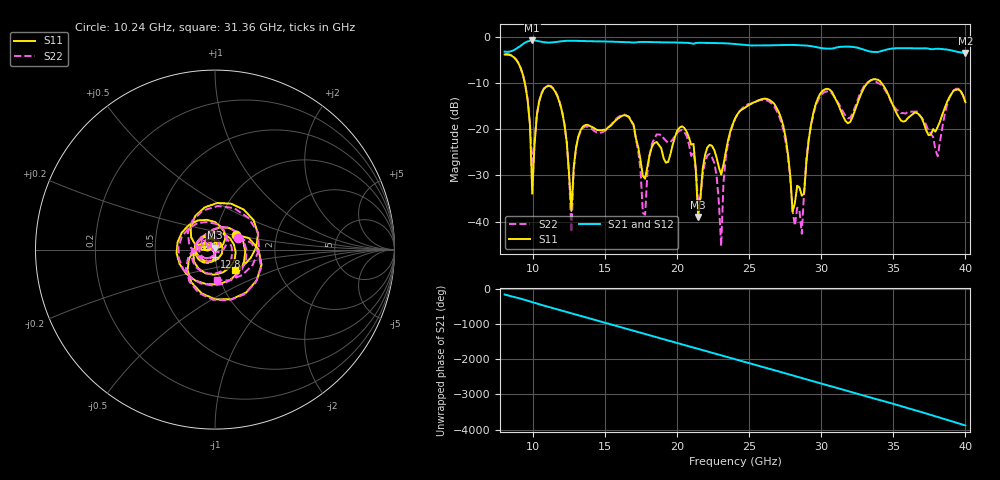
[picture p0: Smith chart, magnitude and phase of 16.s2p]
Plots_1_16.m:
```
clear;
close all;
SetupPath;


linewidth = 1;
axlinewidth = 1;
nplotx = 6;
nploty = 4;
xlims = [12 32];

roughness = 0.0;

% Connector
folder = 'h:\Server\Exports\';
[parameters, SCST] = CST.LoadData([folder, sprintf('Connector_TR_Deembed_%gum.s2p', roughness)]);
fCST = parameters.frequencies.';

roughness = 1.3;

clrs = lines(7);
clrs(4,:) = [];

file = '16.s2p';
[parameters, data] = CST.LoadData(file);
fs = parameters.frequencies/1e9;

s11 = squeeze(data(1,1,:));
s12 = squeeze(data(1,2,:));
s21 = squeeze(data(2,1,:));
s22 = squeeze(data(2,2,:));
[hFig, hAx] = figureex;
    if(length(hAx.Children) < 2)
        patch(hAx, [28 31 31 28], [-1e3 -1e3 1e3 1e3], [0 0 0], ...
            'FaceAlpha', 0.1, 'EdgeColor', 'none');
        patch(hAx, [13.75 14.5 14.5 13.75], [-1e3 -1e3 1e3 1e3], [0 0 0], ...
            'FaceAlpha', 0.1, 'EdgeColor', 'none');
    end
    hAx.ColorOrder = clrs;
    alignplot(hFig, nplotx, nploty, hFig.Number, [], 1);
%         hAx.Title.String = strrep(file, '.s2p', '');
    plot(hAx, fs, 20*log10(abs(s11)), 'LineWidth', linewidth);
    addlegendentry(hAx, 'S11');
    plot(hAx, fs, 20*log10(abs(s12)), 'LineWidth', linewidth);
    addlegendentry(hAx, 'S12');
%     plot(hAx, fs, 20*log10(abs(s21)), 'LineWidth', linewidth);
%     addlegendentry(hAx, 'S21');
    plot(hAx, fs, 20*log10(abs(s22)), 'LineWidth', linewidth);
    addlegendentry(hAx, 'S22');

    xlabel(hAx, 'Frequency [GHz]');
    ylabel(hAx, 'S_{ij} [dB]');
    xlim(hAx, xlims);
    ylim(hAx, [-30 0]);
    movelegend(hAx, 'se');
    hAx.LineWidth = axlinewidth;
    
folder = 'h:\Server\Exports\';
filename = sprintf('1-to-16-lossy-back2back-rough%g-', roughness);
[f, ~, S11HFSS] = HFSS.LoadData([folder, filename, 'S11.csv']);
[f, ~, S12HFSS] = HFSS.LoadData([folder, filename, 'S12.csv']);
SHFSS = struct('s11', 10.^(S11HFSS./20), 's12', 10.^(S12HFSS./20), 's21', 10.^(S12HFSS./20), 's22', 10.^(S11HFSS./20));
ABCDHFSS = S2ABCD(SHFSS, 80, 80);
S11i = interp1(fCST./1e9, squeeze(SCST(1,1,:)), f);
S12i = interp1(fCST./1e9, squeeze(SCST(1,2,:)), f);
S21i = interp1(fCST./1e9, squeeze(SCST(2,1,:)), f);
S22i = interp1(fCST./1e9, squeeze(SCST(2,2,:)), f);

SCST = struct('s11', S11i, 's12', S12i, 's21', S21i, 's22', S22i);
Z1 = 80;%50.974587;
Z2 = 80;%77.987955;
ABCDCST = S2ABCD(SCST, Z1, Z2);

ABCDtotal = ABCDCST.mul(ABCDHFSS.mul(ABCDCST.reverse()));

Stotal = ABCD2S(ABCDtotal, 50, 50);
% Stotal = SHFSS;
    
[hFig2, hAx2] = figureex;
    alignplot(hFig2, nplotx, nploty, hFig2.Number, [], 1);
%     title(hAx2, '16');
    plot(hAx2, fs, 10*log10(abs(s11).^2+abs(s12).^2), '-', 'Color', clrs(1,:), 'LineWidth', linewidth);
    addlegendentry(hAx2, 'Measurement');

%     plot(hAx, f, S11HFSS, 'o', 'Color', clrs(1,:), 'LineWidth', linewidth);
    plot(hAx, f, 20*log10(abs(Stotal.s11)), 'k:', 'LineWidth', linewidth*2);
    addlegendentry(hAx, 'Simulation');
    plot(hAx, f, 20*log10(abs(Stotal.s12)), 'k:', 'LineWidth', linewidth*2);
%     plot(hAx, f, S12HFSS, 'x', 'Color', clrs(2,:), 'LineWidth', linewidth);
%     plot(hAx2, f, 10*log10(10.^(S12HFSS./20).^2 + 10.^(S11HFSS./20).^2), 'x', 'Color', clrs(2,:), 'LineWidth', linewidth);
%     addlegendentry(hAx2, '0.25\mum');
%     plot(hAx2, f, 10*log10(10.^(S12HFSS./20).^2 + 10.^(S11HFSS./20).^2) + 2*10*log10(abs(S11i).^2+abs(S12i).^2), 'o', 'Color', clrs(2,:), 'LineWidth', linewidth);
    plot(hAx2, f, 10*log10(abs(Stotal.s11).^2 + abs(Stotal.s12).^2), '-', 'Color', clrs(2,:), 'LineWidth', linewidth);
    addlegendentry(hAx2, 'Simulation');% + connector');
        
    xlim(hAx2, xlims);
    ylim(hAx2, [-3 0]);
    xlabel(hAx2, 'Frequency [GHz]');
    ylabel(hAx2, 'Efficiency');
    
    legend(hAx, 'NumColumns', 5)
    legendlinelength(hAx, 15);
    drawnow;
    movelegend(hAx, 's');
        
        
    dispex('%s: %.2f at 12, %.2f at 32.\n', file, 20*log10(s12(fs == 12)), 20*log10(s12(fs == 32)));
    
%     figureex; plot(fCST./1e9, 20*log10(abs(SCST.s11)));
%     plot(fCST./1e9, 20*log10(abs(SCST.s12)));


for(ifig = 1:100)
    if(ishandle(ifig))
        hFig = figure(ifig);
        hAx = hFig.CurrentAxes;
        cropfigure(hFig);
        legendlinelength(hFig, 15);
        drawnow;
        legend(hAx, 'NumColumns', 5)
        movelegend(hFig, 'se');
    end
end
```
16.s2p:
!Agilent Technologies,N5227A,US51270464,A.10.00.00
!Agilent N5227A: A.10.00.00
!Date: Thursday, July 23, 2020 14:54:18
!Correction: S11(Full 2 Port(1,2))
!S21(Full 2 Port(1,2))
!S12(Full 2 Port(1,2))
!S22(Full 2 Port(1,2))
!S2P File: Measurements: S11, S21, S12, S22:
# Hz S  RI  R 50
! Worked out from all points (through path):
!   201 points, 8 GHz to 40 GHz, reference 50 ohm
!   highest |S21| = -0.76 dB at 9.92 GHz (marker M1); lowest = -3.5 dB at 40 GHz (marker M2)
!   lowest |S11| = -39.0 dB at 21.44 GHz (marker M3), VSWR 1.02, Z = 49.9 + j1.12 ohm
!   |S11| at or under -10 dB: 9.403 GHz to 33.2 GHz (23.79 GHz wide, 112 % of centre); 34.18 GHz to end of sweep
!   |S22| runs from -45.3 to -3.8 dB; largest |S21 - S12| = 0.00059
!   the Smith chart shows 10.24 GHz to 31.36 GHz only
!   S11 on the Smith chart (normalised r, x): 10.24 GHz: 1.24, +0.21; 12.8 GHz: 0.99, -0.08; 31.36 GHz: 1.21, -0.28
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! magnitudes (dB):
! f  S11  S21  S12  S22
! 8 GHz  -3.8  -3.2  -3.2  -3.8
! 9.92 GHz  -34.0  -0.8  -0.8  -28.0
! 10.24 GHz  -17.0  -0.8  -0.8  -16.8
! 12.8 GHz  -28.3  -0.8  -0.8  -28.5
! 20.32 GHz  -19.4  -1.2  -1.2  -20.1
! 21.44 GHz  -39.0  -1.3  -1.3  -35.7
! 23.04 GHz  -29.8  -1.4  -1.4  -45.3
! 24 GHz  -17.7  -1.5  -1.5  -17.8
! 28.64 GHz  -34.4  -1.8  -1.8  -42.6
! 31.36 GHz  -16.1  -2.1  -2.1  -15.4
! 40 GHz  -14.2  -3.5  -3.5  -14.0
